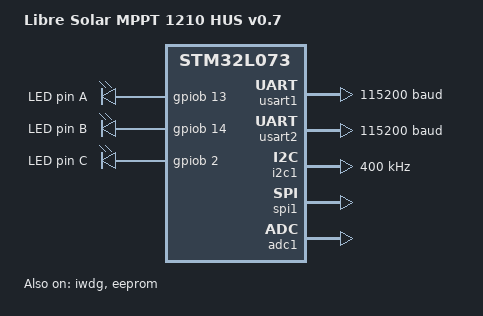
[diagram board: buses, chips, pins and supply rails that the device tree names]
/*
 * SPDX-License-Identifier: Apache-2.0
 *
 * Copyright (c) 2020 Martin Jäger / Libre Solar
 */

/dts-v1/;
#include <st/l0/stm32l073Xz.dtsi>

/ {
	model = "Libre Solar MPPT 1210 HUS v0.7";
	compatible = "st,stm32l073";

	chosen {
		zephyr,console = &usart1;
		zephyr,shell-uart = &usart1;
		zephyr,sram = &sram0;
		zephyr,flash = &flash0;
	};

	leds {
		compatible = "gpio-leds";
		a {
			gpios = <&gpiob 13 GPIO_ACTIVE_HIGH>;
			label = "LED pin A";
		};
		b {
			gpios = <&gpiob 14 GPIO_ACTIVE_HIGH>;
			label = "LED pin B";
		};
		c {
			gpios = <&gpiob 2 GPIO_ACTIVE_HIGH>;
			label = "LED pin C";
		};
	};

	switches {
		compatible = "switch";
		load {
			gpios = <&gpioc 13 GPIO_ACTIVE_HIGH>;
			label = "Load enable";
		};
		usb-pwr {
			gpios = <&gpiob 10 GPIO_ACTIVE_HIGH>;
			label = "USB charging port enable";
		};
		v-solar {
			gpios = <&gpioc 14 GPIO_ACTIVE_HIGH>;
			label = "Solar voltage measurement enable";
		};
		boot0 {
			gpios = <&gpiob 12 GPIO_ACTIVE_HIGH>;
			label = "BOOT0 pin trigger";
		};
	};
	aliases {
		uart-dbg = &usart1;
		uext-uart = &usart2;
		spi-uext = &spi1;
		i2c-uext = &i2c1;
	};
};

&usart1 {
	current-speed = <115200>;
	status = "okay";
};

&usart2 {
	current-speed = <115200>;
	status = "okay";
};

&i2c1 {
	status = "okay";
	clock-frequency = <I2C_BITRATE_FAST>;
};

&spi1 {
	status = "okay";
};

&iwdg {
	status = "okay";
};

&adc1 {
	status = "okay";
};

&eeprom {
	status = "okay";
};
